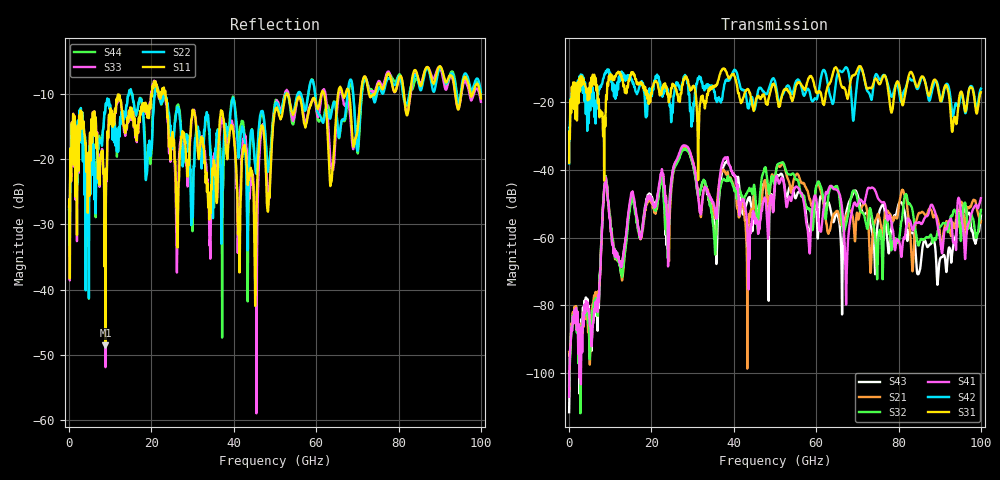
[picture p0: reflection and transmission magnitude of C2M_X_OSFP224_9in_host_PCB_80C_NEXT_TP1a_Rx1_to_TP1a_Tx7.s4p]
# GHz S RI R 45
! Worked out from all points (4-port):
!   4000 points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, 25 MHz to 100 GHz, reference 45 ohm
!   strongest paths, dB at 25 MHz, 25.02 GHz, 50.02 GHz, 75.03 GHz, 100 GHz:
!     S31: -37.8, -15.1, -15.2, -14.0, -17.0
!     S42: -38.0, -22.6, -13.7, -12.5, -15.9
!     S41: -107.0, -41.9, -43.9, -48.3, -48.3
!     S32: -103.8, -43.0, -42.4, -63.5, -51.8
!     S21: -93.7, -43.7, -41.9, -52.9, -55.1
!     S43: -111.5, -41.4, -44.1, -54.7, -53.5
!   lowest |S11| = -48.5 dB at 8.85 GHz (marker M1), VSWR 1.01, Z = 45.3 + j0.00714 ohm
!   |S11| at or under -10 dB: start of sweep to 20.14 GHz; 23.43 GHz to 52.78 GHz (29.35 GHz wide, 77 % of centre); 52.94 GHz to 61.26 GHz (8.32 GHz wide, 14.6 % of centre)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
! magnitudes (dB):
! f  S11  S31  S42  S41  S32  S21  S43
! 25 MHz  -27.3  -37.8  -38.0  -107.0  -103.8  -93.7  -111.5
! 6.8 GHz  -16.1  -15.0  -20.6  -78.2  -78.6  -76.2  -79.9
! 8.85 GHz  -48.5  -25.2  -11.3  -42.5  -42.1  -42.5  -42.0
! 12.72 GHz  -12.0  -12.2  -11.1  -68.4  -70.7  -71.2  -67.9
! 28.18 GHz  -17.2  -12.4  -11.9  -32.8  -34.0  -33.4  -33.5
! 67.33 GHz  -9.6  -17.7  -9.6  -77.1  -55.6  -53.4  -52.4
! 100 GHz  -10.7  -17.0  -15.9  -48.3  -51.8  -55.1  -53.5
